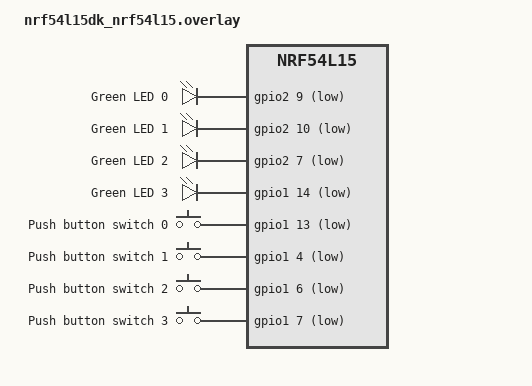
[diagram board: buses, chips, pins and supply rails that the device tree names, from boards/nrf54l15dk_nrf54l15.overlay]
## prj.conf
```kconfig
# Copyright (c) 2019 Nordic Semiconductor ASA
# SPDX-License-Identifier: LicenseRef-Nordic-5-Clause

CONFIG_NCS_SAMPLES_DEFAULTS=y

# ==== 1. KHÓA CHẾ ĐỘ BIÊN DỊCH TỐI ƯU DUNG LƯỢNG & ĐIỆN NĂNG ====
CONFIG_SIZE_OPTIMIZATIONS=y

# ==== 2. QUẢN LÝ NĂNG LƯỢNG CHO DÒNG NRF54L ====
# Bật bộ khung quản lý điện năng nền tảng
CONFIG_PM=y
CONFIG_PM_DEVICE=y

# Sửa lỗi 'PM_POLICY_DEFAULT': Với Zephyr mới trên nRF54L, thay vì gọi POLICY_DEFAULT,
# ta dùng cờ POLICY_APP hoặc để hệ thống tự điều phối trạng thái nguồn (Power States).
CONFIG_PM_POLICY_DEFAULT=y
CONFIG_PM_DEVICE_RUNTIME=y

# ==== 3. TẮT LOGGING & SERIAL DRIVER (CHỐNG DÒNG RÒ UART) ====
CONFIG_LOG=n
CONFIG_SERIAL=n
CONFIG_UART_CONSOLE=n
CONFIG_STDOUT_CONSOLE=n
CONFIG_USE_SEGGER_RTT=n
CONFIG_RTT_CONSOLE=n

# Sửa lỗi 'PRINTK': Cho phép hệ thống bật PRINTK (y) nhưng không xuất ra phần cứng qua UART
CONFIG_PRINTK=y

# ==== 4. TẤT CẢ CÁC TÍNH NĂNG KIỂM TRA / ASSERT ĐỀU PHẢI TẮT ====
CONFIG_ASSERT=n
CONFIG_RESET_ON_FATAL_ERROR=n

# ==== 5. CẤU HÌNH ĐỊNH TUYẾN LƯU TRỮ ZMS ====
CONFIG_FLASH=y
CONFIG_FLASH_MAP=y
CONFIG_SETTINGS=y
CONFIG_SETTINGS_ZMS=y
CONFIG_NVS=n

# Cấu hình chung ứng dụng
CONFIG_NCS_APPLICATION_BOOT_BANNER_STRING="Mesh Light"
CONFIG_SYSTEM_WORKQUEUE_STACK_SIZE=2048
CONFIG_HWINFO=y
CONFIG_DK_LIBRARY=y
CONFIG_PM_SINGLE_IMAGE=y
CONFIG_SOC_FLASH_NRF_PARTIAL_ERASE=n

# ==== 6. BLUETOOTH & LPN CHU KỲ DÀI KHÔNG THỨC GIẤC ====
CONFIG_BT=y
CONFIG_BT_DEVICE_NAME="Mesh Light"
CONFIG_BT_L2CAP_TX_BUF_COUNT=8
CONFIG_BT_OBSERVER=y
CONFIG_BT_PERIPHERAL=y
CONFIG_BT_SETTINGS=y
CONFIG_BT_RX_STACK_SIZE=2700

# Tắt toàn bộ tính năng Controller phụ trợ để hạ dòng tĩnh
CONFIG_BT_CTLR_LE_ENC=n
CONFIG_BT_PHY_UPDATE=n
CONFIG_BT_CTLR_CHAN_SEL_2=n
CONFIG_BT_CTLR_MIN_USED_CHAN=n
CONFIG_BT_CTLR_PRIVACY=n

# Mesh Low Power Node thiết lập chu kỳ ngủ dài
CONFIG_BT_MESH=y
CONFIG_BT_MESH_LOW_POWER=n
CONFIG_BT_MESH_RELAY=y
CONFIG_BT_MESH_FRIEND=y
CONFIG_BT_MESH_TX_SEG_MAX=10
CONFIG_BT_MESH_PB_GATT=y
CONFIG_BT_MESH_GATT_PROXY=y
CONFIG_BT_MESH_PROXY_USE_DEVICE_NAME=y
CONFIG_BT_MESH_DK_PROV=y
CONFIG_BT_MESH_ONOFF_SRV=y
CONFIG_BT_MESH_CRPL=32
CONFIG_BT_MESH_MSG_CACHE_SIZE=32

# Ép khoảng thời gian Poll Timeout tối đa (Hơn 60 giây mới dậy xin gói tin 1 lần)
CONFIG_BT_MESH_LPN_POLL_TIMEOUT=600
CONFIG_BT_MESH_LPN_RECV_DELAY=10
CONFIG_BT_MESH_LPN_MIN_QUEUE_SIZE=1

# Giảm công suất phát RF xuống mức thấp nhất để tiết kiệm năng lượng lúc phát sóng
CONFIG_BT_CTLR_TX_PWR_DYNAMIC_CONTROL=y
CONFIG_BT_CTLR_TX_PWR_ANTENNA=0

CONFIG_GPIO=y





# =========================================================
# TỐI ƯU HÓA HỆ ĐIỀU HÀNH VÀ GRTC CHO NRF54L15
# =========================================================

# 1. Ép hệ điều hành không thức dậy định kỳ (Tickless Mode)
# Thay vì CPU phải dậy mỗi 1ms để đếm thời gian, nó sẽ giao toàn quyền cho GRTC đếm
# và chỉ thức dậy chính xác khi GRTC gọi (sau 10 giây hoặc 150ms).
CONFIG_TICKLESS_KERNEL=y

# 2. Tối ưu hóa sâu cho Power Management
# Cho phép hệ thống tự động đưa RAM và các thiết bị ngoại vi vào trạng thái ngắt điện (Retention)

# 3. Tắt System Watchdog (nếu không dùng đến)
# Watchdog đôi khi ngầm sử dụng timer riêng gây tốn thêm khoảng vài uA
CONFIG_WATCHDOG=n

# 4. Ép mức ưu tiên phần cứng cao nhất cho việc quản lý năng lượng LPN
CONFIG_BT_MESH_LPN_AUTO=y



# =========================================================
# CẤU HÌNH BỔ SUNG: KÍCH HOẠT GRTC VÀ QUẢN LÝ NĂNG LƯỢNG SÂU
# =========================================================

# 1. Định tuyến Driver Clock hệ thống chạy trên phần cứng GRTC thay cho RTC cũ
# 1. Kích hoạt GRTC Driver
# =========================================================
# CẤU HÌNH ĐÃ SỬA ĐỔI: SỬ DỤNG GRTC & BẢO TOÀN LỆNH MESH
# =========================================================

CONFIG_NRFX_GRTC=y

# 2. Để tần số System Tick chạy ở mức 1 MHz (1000000) chuẩn của dòng nRF54L
# Điều này giúp các hàm k_work định thời chớp tắt Identify 30ms chạy chính xác hoàn hảo
CONFIG_SYS_CLOCK_HW_CYCLES_PER_SEC=1000000



CONFIG_BT_MESH_ONOFF_CLI=y
```

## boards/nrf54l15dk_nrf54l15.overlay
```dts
&gpio0 {
    status = "okay";
};

&gpio1 {
    status = "okay";
};

&gpio2 {
    status = "okay";
};

&uart20 {
    status = "disabled";
};

&i2c21 {
    compatible = "nordic,nrf-twim";
    status = "disabled";
    clock-frequency = <I2C_BITRATE_STANDARD>; /* 100kHz */
    pinctrl-0 = <&i2c21_default>;
    pinctrl-1 = <&i2c21_sleep>;
    pinctrl-names = "default", "sleep";

    mysensor: mysensor@55{
        compatible = "i2c-device";
        reg = <0x55>;
        label = "MYSENSOR";
    };
};

&pinctrl {
    i2c21_default: i2c21_default {
        group1 {
            psels = <NRF_PSEL(TWIM_SCL, 1, 11)>, <NRF_PSEL(TWIM_SDA, 1, 12)>;
            bias-pull-up;
        };
    };
    
    i2c21_sleep: i2c21_sleep {
        group1 {
            psels = <NRF_PSEL(TWIM_SCL, 1, 11)>, <NRF_PSEL(TWIM_SDA, 1, 12)>;
            low-power-enable;
        };
    };
};

/ {
    leds {
        compatible = "gpio-leds";
        led0: led_0 {
            gpios = <&gpio2 9 GPIO_ACTIVE_LOW>;
            label = "Green LED 0";
        };
        led1: led_1 {
            gpios = <&gpio2 10 GPIO_ACTIVE_LOW>;
            label = "Green LED 1";
        };
        led2: led_2 {
            gpios = <&gpio2 7 GPIO_ACTIVE_LOW>;
            label = "Green LED 2";
        };
        led3: led_3 {
            gpios = <&gpio1 14 GPIO_ACTIVE_LOW>;
            label = "Green LED 3";
        };
    };

    buttons {
        compatible = "gpio-keys";
        button0: button_0 {
            gpios = <&gpio1 13 (GPIO_PULL_UP | GPIO_ACTIVE_LOW)>;
            label = "Push button switch 0";
            zephyr,code = <INPUT_KEY_0>;
        };
        button1: button_1 {
            gpios = <&gpio1 4 (GPIO_PULL_UP | GPIO_ACTIVE_LOW)>;
            label = "Push button switch 1";
            zephyr,code = <INPUT_KEY_1>;
        };
        /* Đã thêm lại button2 và button3 vào đúng vị trí để tránh lỗi cú pháp */
        button2: button_2 {
            gpios = <&gpio1 6 (GPIO_PULL_UP | GPIO_ACTIVE_LOW)>; /* LƯU Ý: Đổi số '6' thành chân GPIO thực tế trên mạch của bạn */
            label = "Push button switch 2";
            zephyr,code = <INPUT_KEY_2>;
        };
        button3: button_3 {
            gpios = <&gpio1 7 (GPIO_PULL_UP | GPIO_ACTIVE_LOW)>; /* LƯU Ý: Đổi số '7' thành chân GPIO thực tế trên mạch của bạn */
            label = "Push button switch 3";
            zephyr,code = <INPUT_KEY_3>;
        };
    };

    aliases {
        led0 = &led0;
        led1 = &led1;
        led2 = &led2;
        led3 = &led3;
        sw0 = &button0;
        sw1 = &button1;
        sw2 = &button2; /* Thêm alias cho switch 2 */
        sw3 = &button3; /* Thêm alias cho switch 3 */
        i2c-0 = &i2c21;
    };
};

&gpiote30 {
    status = "okay";
};
```

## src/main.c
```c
/*
 * Copyright (c) 2019 Nordic Semiconductor ASA
 *
 * SPDX-License-Identifier: LicenseRef-Nordic-5-Clause
 */

#include <zephyr/bluetooth/bluetooth.h>
#include <bluetooth/mesh/models.h>
#include <bluetooth/mesh/dk_prov.h>
#include <dk_buttons_and_leds.h>
#include <zephyr/drivers/gpio.h>
#include "model_handler.h"
#include "smp_bt.h"

/* Khai báo cấu trúc driver GPIO cấu hình trực tiếp chân để ép ngắt dòng */
#include <zephyr/device.h>

static void bt_ready(int err)
{
	if (err) {
		return;
	}

	/* Khởi tạo LED và Button tạm thời phục vụ cho lúc khởi tạo / Provisioning */
	err = dk_leds_init();
	if (err) {
		return;
	}

	// err = dk_buttons_init(NULL);
	// if (err) {
	// 	return;
	// }

	err = bt_mesh_init(bt_mesh_dk_prov_init(), model_handler_init());
	if (err) {
		return;
	}

	if (IS_ENABLED(CONFIG_SETTINGS)) {
		settings_load();
	}

	bt_mesh_prov_enable(BT_MESH_PROV_ADV | BT_MESH_PROV_GATT);

	dk_set_leds(0x00); 
}

int main(void)
{
	int err;

	err = bt_enable(bt_ready);
	if (err) {
		// Xử lý lỗi ngầm không printk
	}

	return 0;
}
```

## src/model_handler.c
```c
/*
 * Copyright (c) 2019 Nordic Semiconductor ASA
 *
 * SPDX-License-Identifier: LicenseRef-Nordic-5-Clause
 */

#include <zephyr/bluetooth/bluetooth.h>
#include <zephyr/bluetooth/mesh.h> 
#include <bluetooth/mesh/models.h>
#include <dk_buttons_and_leds.h>
#include "model_handler.h"
#include <zephyr/logging/log.h>

LOG_MODULE_REGISTER(model_handler, CONFIG_LOG_DEFAULT_LEVEL);

static void led_set(struct bt_mesh_onoff_srv *srv, struct bt_mesh_msg_ctx *ctx,
		    const struct bt_mesh_onoff_set *set,
		    struct bt_mesh_onoff_status *rsp);

static void led_get(struct bt_mesh_onoff_srv *srv, struct bt_mesh_msg_ctx *ctx,
		    struct bt_mesh_onoff_status *rsp);

static const struct bt_mesh_onoff_srv_handlers onoff_handlers = {
	.set = led_set,
	.get = led_get,
};

struct led_ctx {
	struct bt_mesh_onoff_srv srv;
	struct k_work_delayable work;
	uint32_t remaining;
	bool value;
};

static struct led_ctx led_ctx[] = {
#if DT_NODE_EXISTS(DT_ALIAS(led0))
	{ .srv = BT_MESH_ONOFF_SRV_INIT(&onoff_handlers) },
#endif
#if DT_NODE_EXISTS(DT_ALIAS(led1))
	{ .srv = BT_MESH_ONOFF_SRV_INIT(&onoff_handlers) },
#endif
#if DT_NODE_EXISTS(DT_ALIAS(led2))
	{ .srv = BT_MESH_ONOFF_SRV_INIT(&onoff_handlers) },
#endif
#if DT_NODE_EXISTS(DT_ALIAS(led3))
	{ .srv = BT_MESH_ONOFF_SRV_INIT(&onoff_handlers) },
#endif
};

#define LED_ON   false
#define LED_OFF  true

static void led_transition_start(struct led_ctx *led)
{
	int led_idx = led - &led_ctx[0];
	dk_set_led(led_idx, LED_ON); 
	k_work_reschedule(&led->work, K_MSEC(led->remaining));
	led->remaining = 0;
}

static void led_status(struct led_ctx *led, struct bt_mesh_onoff_status *status)
{
	status->remaining_time = led->remaining ? led->remaining :
		k_ticks_to_ms_ceil32(k_work_delayable_remaining_get(&led->work));
	status->target_on_off = led->value;
	status->present_on_off = led->value || status->remaining_time;
}

/* ====================================================================
 * LOGIC CHU KỲ NGUỒN VÀ TRUYỀN DỮ LIỆU CÓ BỘ ĐỆM AN TOÀN
 * ==================================================================== */
static struct k_work_delayable cycle_work;   // Timer đảo trạng thái Thức/Ngủ
static struct k_work_delayable suspend_work; // MỚI: Timer delay để tắt Radio an toàn
static struct k_work_delayable blink_work;   // Timer nháy LED 2
static struct k_work_delayable publish_work; // Timer gửi gói tin định kỳ

static bool cycle_mode_active = false;      
static bool is_awake = true;                
static bool led2_blink_state = false;       
static bool next_state_on = true; 

static struct bt_mesh_onoff_cli onoff_cli; 

/* HÀM PHỤ TRỢ: Đóng gói và gửi lệnh Mesh tới Group C002 */
static void send_mesh_packet(bool turn_on)
{
	struct bt_mesh_onoff_set set = {
		.on_off = turn_on ? 1 : 0, 
		.transition = NULL,
	};

	struct bt_mesh_msg_ctx ctx = {
		.app_idx = 0,               // Map với AppKey 1
		.addr = 0xC002,             // Gửi tới Group C002
		.send_ttl = BT_MESH_TTL_DEFAULT,              
	};

	int err = bt_mesh_onoff_cli_set(&onoff_cli, &ctx, &set, NULL);
	
	if (err && err != -EALREADY) {
		LOG_ERR("Loi gui tin (err %d)", err);
	} else {
		LOG_INF("--- [PHAT SONG]: Da gui lenh %s len C002 ---", turn_on ? "BAT (ON)" : "TAT (OFF)");
	}
}

/* HÀM XỬ LÝ NHÁY LED 2: Chỉ nháy khi thức */
static void blink_handler(struct k_work *work)
{
	if (!cycle_mode_active || !is_awake) {
		return; // Không nháy nếu đang đi ngủ
	}

	led2_blink_state = !led2_blink_state;
	dk_set_led(2, led2_blink_state ? LED_ON : LED_OFF);
	
	k_work_reschedule(&blink_work, K_MSEC(100));
}

/* HÀM BẮN GÓI TIN: Liên tục gửi gói tin BẬT / TẮT khi đang thức */
static void publish_handler(struct k_work *work)
{
	if (!cycle_mode_active || !is_awake) {
		return;
	}

	send_mesh_packet(next_state_on);
	next_state_on = !next_state_on;

	k_work_reschedule(&publish_work, K_MSEC(1000));
}

/* HÀM MỚI: Thực hiện tắt Radio (Ngủ Sâu) sau khi gói tin đã bay đi an toàn */
static void suspend_handler(struct k_work *work)
{
	// Bảo vệ 2 lớp: Nếu chu kỳ bị ngắt giữa chừng hoặc mạch đang thức thì không tắt Radio
	if (is_awake || !cycle_mode_active) {
		return;
	}

	k_work_cancel_delayable(&blink_work);  

	for (int i = 0; i < ARRAY_SIZE(led_ctx); i++) {
		dk_set_led(i, LED_OFF);
	}

	// ĐÓNG BĂNG MẠNG: Chỉ gọi hàm này khi chắc chắn hàng đợi Mesh TX đã trống
	bt_mesh_suspend(); 
	LOG_INF("--- [RADIO]: Da dong bang Radio, ngat mach di ngu! ---");
}

/* HÀM QUẢN LÝ CHU KỲ NGUỒN: Chỉ điều phối, nhường việc ngủ cho suspend_work */
static void cycle_handler(struct k_work *work)
{
	if (!cycle_mode_active) {
		return;
	}

	is_awake = !is_awake;

	if (is_awake) {
		/* --- 🟢 MẠCH THỨC GIẤC (10s) --- */
		bt_mesh_resume(); // Đánh thức Radio ngay lập tức
		LOG_INF("--- [RADIO]: Da khoi dong lai Radio! ---");

		for (int i = 0; i < ARRAY_SIZE(led_ctx); i++) {
			if (i != 1 && i != 2 && i != 3) { 
				dk_set_led(i, led_ctx[i].value ? LED_ON : LED_OFF);
			}
		}
		
		led2_blink_state = true;
		dk_set_led(2, LED_ON);
		k_work_reschedule(&blink_work, K_MSEC(100)); // LED nháy ngay lập tức

		next_state_on = true; 
		
		// ĐỢI 500MS SAU KHI THỨC: Cho chip RF nạp đủ năng lượng và kết nối mạng rồi mới bắn tin
		k_work_reschedule(&publish_work, K_MSEC(500)); 

		// Hẹn giờ đi ngủ sau 10s
		k_work_reschedule(&cycle_work, K_MSEC(10000));

	} else {
		/* --- 🔴 MẠCH SẮP ĐI NGỦ (10s) --- */
		
		k_work_cancel_delayable(&publish_work); // Ngừng gửi tin chu kỳ 1s

		// Bắn gói tin OFF cuối cùng để chốt sổ
		//send_mesh_packet(false); 

		// ÂN HẠN 1 GIÂY (1000ms): Chờ gói tin bay đi trót lọt rồi mới ủy quyền cho suspend_handler rút điện Radio!
		//k_work_reschedule(&suspend_work, K_MSEC(1000)); 
		k_work_reschedule(&suspend_work, K_NO_WAIT);

		// Hẹn giờ thức giấc sau 10s
		k_work_reschedule(&cycle_work, K_MSEC(10000));
	}
}

static void led_set(struct bt_mesh_onoff_srv *srv, struct bt_mesh_msg_ctx *ctx,
		    const struct bt_mesh_onoff_set *set,
		    struct bt_mesh_onoff_status *rsp)
{
	struct led_ctx *led = CONTAINER_OF(srv, struct led_ctx, srv);
	int led_idx = led - &led_ctx[0];

	/* ----- ĐÓN VÀ XỬ LÝ GÓI TIN MẠCH B (LED 1) ----- */
	if (led_idx == 1) { 
		led->value = set->on_off;
		
		if (set->on_off == 1) {
			dk_set_led(1, LED_ON);
		} else {
			dk_set_led(1, LED_OFF);
		}
	} 
	/* ----- KÍCH HOẠT CHU KỲ NĂNG LƯỢNG QUA LED 2 ----- */
	else if (led_idx == 2) { 
		led->value = set->on_off;

		if (set->on_off == 1) {
			if (!cycle_mode_active) {
				cycle_mode_active = true;
				is_awake = true;
				
				k_work_reschedule(&blink_work, K_NO_WAIT);    
				k_work_reschedule(&cycle_work, K_MSEC(10000));
				
				next_state_on = true;
				k_work_reschedule(&publish_work, K_MSEC(500));
			}
		} else {
			cycle_mode_active = false;
			is_awake = true; 
			
			// Hủy toàn bộ mọi lịch trình đang chờ
			k_work_cancel_delayable(&cycle_work);
			k_work_cancel_delayable(&blink_work);
			k_work_cancel_delayable(&publish_work);
			k_work_cancel_delayable(&suspend_work); // Bổ sung hủy bộ đệm đi ngủ
			
			bt_mesh_resume(); // Ép hệ thống luôn thức
			dk_set_led(2, LED_ON);

			for (int i = 0; i < ARRAY_SIZE(led_ctx); i++) {
				if (i != 1 && i != 2 && i != 3) {
					dk_set_led(i, led_ctx[i].value ? LED_ON : LED_OFF);
				}
			}
		}
	} 
	else {
		led->value = set->on_off; 
		if (!bt_mesh_model_transition_time(set->transition)) {
			led->remaining = 0;
			if (is_awake && led_idx != 3) {
				dk_set_led(led_idx, set->on_off ? LED_ON : LED_OFF);
			}
		} else {
			led->remaining = set->transition->time;
			if (set->transition->delay) {
				k_work_reschedule(&led->work, K_MSEC(set->transition->delay));
			} else {
				if (is_awake && led_idx != 3) {
					led_transition_start(led);
				}
			}
		}
	}

	if (rsp) {
		led_status(led, rsp);
	}
}

static void led_get(struct bt_mesh_onoff_srv *srv, struct bt_mesh_msg_ctx *ctx,
		    struct bt_mesh_onoff_status *rsp)
{
	struct led_ctx *led = CONTAINER_OF(srv, struct led_ctx, srv);
	led_status(led, rsp);
}

static void led_work(struct k_work *work)
{
	struct led_ctx *led = CONTAINER_OF(work, struct led_ctx, work.work);
	int led_idx = led - &led_ctx[0];

	if (led->remaining) {
		led_transition_start(led);
	} else {
		if (is_awake && led_idx != 1 && led_idx != 2 && led_idx != 3) {
			dk_set_led(led_idx, led->value ? LED_ON : LED_OFF);
		}
		struct bt_mesh_onoff_status status;
		led_status(led, &status);
		bt_mesh_onoff_srv_pub(&led->srv, NULL, &status);
	}
}

static struct k_work_delayable attention_blink_work;
static bool attention;

static void attention_blink(struct k_work *work)
{
	static int idx;
	const uint8_t pattern[] = {
#if DT_NODE_EXISTS(DT_ALIAS(led0))
		BIT(0),
#endif
#if DT_NODE_EXISTS(DT_ALIAS(led1))
		BIT(1),
#endif
#if DT_NODE_EXISTS(DT_ALIAS(led2))
		BIT(2),
#endif
#if DT_NODE_EXISTS(DT_ALIAS(led3))
		BIT(3),
#endif
	};

	if (attention) {
		dk_set_leds(pattern[idx++ % ARRAY_SIZE(pattern)]);
		k_work_reschedule(&attention_blink_work, K_MSEC(30));
	} else {
		for (int i = 0; i < ARRAY_SIZE(led_ctx); i++) {
			dk_set_led(i, LED_OFF);
		}
	}
}

static void attention_on(const struct bt_mesh_model *mod)
{
	attention = true;
	k_work_reschedule(&attention_blink_work, K_NO_WAIT);
}

static void attention_off(const struct bt_mesh_model *mod)
{
	attention = false;
}

static const struct bt_mesh_health_srv_cb health_srv_cb = {
	.attn_on = attention_on,
	.attn_off = attention_off,
};

static struct bt_mesh_health_srv health_srv = {
	.cb = &health_srv_cb,
};

BT_MESH_HEALTH_PUB_DEFINE(health_pub, 0);

static struct bt_mesh_elem elements[] = {
#if DT_NODE_EXISTS(DT_ALIAS(led0))
	BT_MESH_ELEM(
		1, BT_MESH_MODEL_LIST(
			BT_MESH_MODEL_CFG_SRV,
			BT_MESH_MODEL_HEALTH_SRV(&health_srv, &health_pub),
			BT_MESH_MODEL_ONOFF_SRV(&led_ctx[0].srv),
			BT_MESH_MODEL_ONOFF_CLI(&onoff_cli)),
		BT_MESH_MODEL_NONE),
#endif
#if DT_NODE_EXISTS(DT_ALIAS(led1))
	BT_MESH_ELEM(
		2, BT_MESH_MODEL_LIST(BT_MESH_MODEL_ONOFF_SRV(&led_ctx[1].srv)),
		BT_MESH_MODEL_NONE),
#endif
#if DT_NODE_EXISTS(DT_ALIAS(led2))
	BT_MESH_ELEM(
		3, BT_MESH_MODEL_LIST(BT_MESH_MODEL_ONOFF_SRV(&led_ctx[2].srv)),
		BT_MESH_MODEL_NONE),
#endif
#if DT_NODE_EXISTS(DT_ALIAS(led3))
	BT_MESH_ELEM(
		4, BT_MESH_MODEL_LIST(BT_MESH_MODEL_ONOFF_SRV(&led_ctx[3].srv)),
		BT_MESH_MODEL_NONE),
#endif
};

static const struct bt_mesh_comp comp = {
	.cid = CONFIG_BT_COMPANY_ID,
	.elem = elements,
	.elem_count = ARRAY_SIZE(elements),
};

const struct bt_mesh_comp *model_handler_init(void)
{
	k_work_init_delayable(&attention_blink_work, attention_blink);

	for (int i = 0; i < ARRAY_SIZE(led_ctx); ++i) {
		k_work_init_delayable(&led_ctx[i].work, led_work);
		led_ctx[i].value = 0; 
	}

	// Đăng ký toàn bộ hàng đợi
	k_work_init_delayable(&blink_work, blink_handler);
	k_work_init_delayable(&cycle_work, cycle_handler);
	k_work_init_delayable(&publish_work, publish_handler); 
	k_work_init_delayable(&suspend_work, suspend_handler); // BỘ ĐỆM ĐI NGỦ

	cycle_mode_active = false;
	is_awake = true;
	
	for (int i = 0; i < ARRAY_SIZE(led_ctx); i++) {
		dk_set_led(i, LED_OFF); 
	}
	dk_set_led(2, LED_ON);

	return &comp;
}
```
